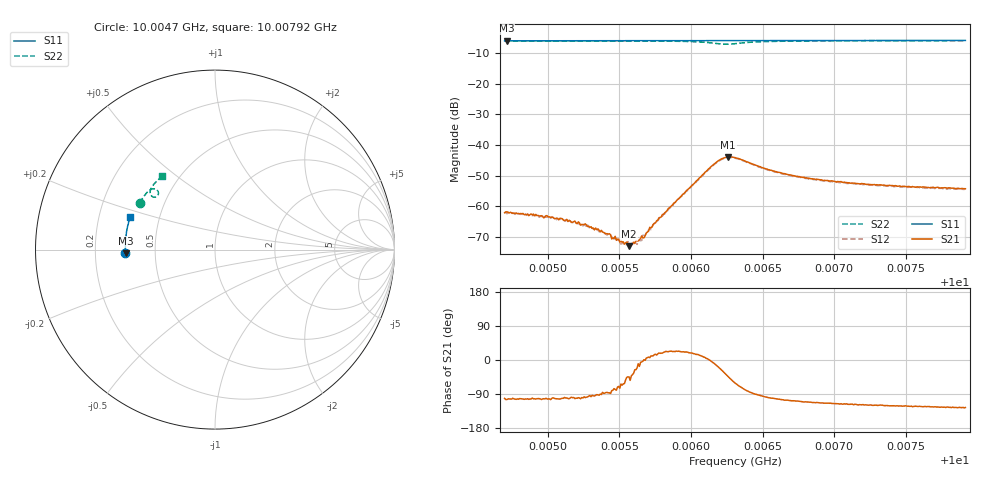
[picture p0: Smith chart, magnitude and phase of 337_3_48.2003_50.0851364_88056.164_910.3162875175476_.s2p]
#  HZ  S  RI  R  50.00
! Rohde & Schwarz Vector Network Analyzer
! Rohde-Schwarz,ZNB20-2Port,1311601062101988,3.16
! Created: UTC 3/20/2024, 11:51:08 AM
! freq[Hz]  re:S11  im:S11  re:S21  im:S21  re:S12  im:S12  re:S22  im:S22
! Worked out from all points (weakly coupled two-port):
!   401 points, 10.0047 GHz to 10.00792 GHz, reference 50 ohm
!   highest |S21| = -43.84 dB at 10.00626 GHz (marker M1); lowest = -72.9 dB at 10.00557 GHz (marker M2)
!   lowest |S11| = -6.0 dB at 10.00471 GHz (marker M3), VSWR 2.99, Z = 16.7 - j0.923 ohm
!   |S11| at or under -10 dB: nowhere
!   |S22| runs from -7.2 to -6.0 dB; largest |S21 - S12| = 0.00038
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1.0004697e10  -0.4987 -0.0217  -0.000157 -0.000775  -9.78e-05 -0.000781  -0.4194 0.26
1.0004713e10  -0.4984 -0.0207  -0.000205 -0.000794  -0.000129 -0.000751  -0.4189 0.2609
1.0005019e10  -0.4997 -0.000804  -0.000165 -0.000639  -9.84e-05 -0.000634  -0.4083 0.2792
1.0005237e10  -0.5 0.0132  -8.03e-05 -0.000506  -6.05e-05 -0.000485  -0.3998 0.2921
1.0005269e10  -0.4999 0.0155  -7.03e-05 -0.000496  -5.64e-05 -0.000447  -0.3984 0.294
1.000543e10  -0.4998 0.0258  2.22e-05 -0.000359  7.01e-05 -0.000338  -0.3914 0.3037
1.0005519e10  -0.4996 0.0316  0.000105 -0.000241  0.00014 -0.000218  -0.387 0.3092
1.0005567e10  -0.4997 0.0347  0.000161 -0.000159  0.000151 -0.000189  -0.3845 0.3121
1.0005583e10  -0.4994 0.0357  0.000173 -0.000156  0.000194 -0.000141  -0.3836 0.3131
1.0005639e10  -0.4993 0.0394  0.000275 -8.36e-05  0.000275 -6.96e-05  -0.3804 0.3167
1.000568e10  -0.4992 0.042  0.000334 -4.57e-06  0.000339 -2.03e-06  -0.3781 0.3191
1.0005728e10  -0.499 0.0451  0.000459 8.58e-05  0.000446 0.000125  -0.3751 0.3221
1.0005776e10  -0.4989 0.0483  0.000621 0.000207  0.000584 0.000222  -0.3715 0.3253
1.0006138e10  -0.4964 0.0716  0.00442 -0.000198  0.00432 2.63e-06  -0.3218 0.3309
1.0006203e10  -0.4957 0.0757  0.00534 -0.00222  0.00532 -0.00195  -0.3151 0.313
1.0006259e10  -0.4953 0.0788  0.00464 -0.00444  0.00478 -0.00411  -0.3242 0.2961
1.0006308e10  -0.495 0.0818  0.00304 -0.00547  0.0033 -0.00518  -0.3393 0.2922
1.0006589e10  -0.4927 0.0998  -0.000772 -0.00362  -0.000591 -0.00359  -0.3598 0.3318
1.0006847e10  -0.4898 0.1164  -0.00107 -0.00263  -0.000896 -0.00263  -0.3484 0.3536
1.0007113e10  -0.486 0.1331  -0.00108 -0.00213  -0.000984 -0.00217  -0.3354 0.37
1.0007386e10  -0.4817 0.15  -0.00114 -0.0019  -0.001 -0.00188  -0.322 0.3842
1.0007918e10  -0.4712 0.1828  -0.00113 -0.00159  -0.00106 -0.0016  -0.295 0.4083
